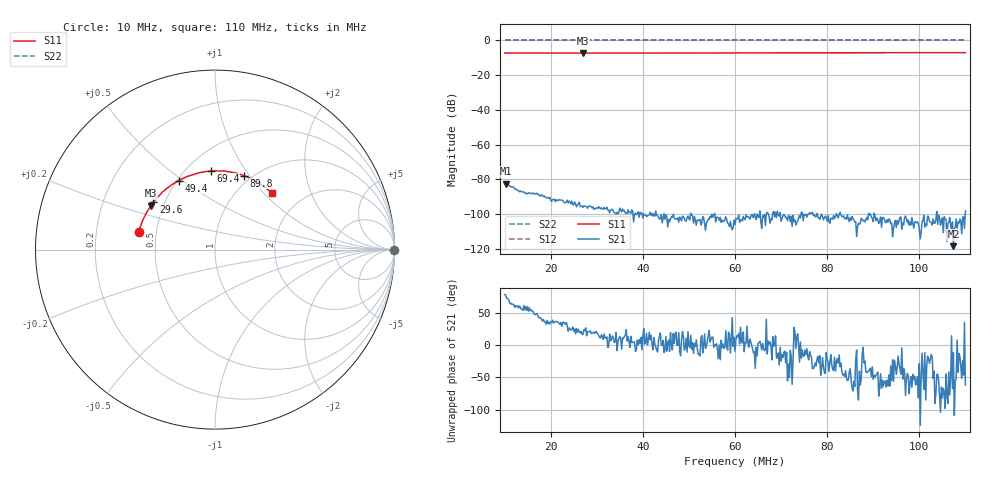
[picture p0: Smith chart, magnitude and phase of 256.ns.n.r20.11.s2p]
! Anritsu VNA Master:  Model: MS2036C/10/77
! SN:  1601066
! /card0/usr/256.ns.n.r20.11.s2p
! Existing Calibration Information:
! TYPE:  Current Settings,  Active Cal Settings
! TIME:  12/19/2017 04:01:24 PM,  12/19/2017 03:58:02 PM
! INTERNAL TEMP:  47.0 C,  47.0 C
! # POINTS:  501,  501
! START FREQ:  10.000 MHz,  10.000 MHz
! STOP FREQ:  110.000 MHz,  110.000 MHz
! SOURCE POWER:  High,  High
! IFBW:  100 Hz,  100 Hz
! AVG FACTOR:  1 ,  1
! REF PLANE 1:  0 mm,  0 mm
! REF PLANE 2:  0 mm,  0 mm
! CAL TYPE:  Full S11,  Full S11
! CAL METHOD:  SOLT,  SOLT
! CAL LINE TYPE:  Coax,  Coax
! DUT PORT 1:  N-Conn(F),  N-Conn(F)
! DUT PORT 2:  K-Conn(F),  K-Conn(F)
! CAL STATUS:  OK: Accuracy High,  --
# GHZ S DB R 50.0
! FREQ.GHZ  S11DB  S11A  S21DB  S21A  S12DB  S12A  S22DB  S22A
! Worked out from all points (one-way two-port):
!   501 points, 10 MHz to 110 MHz, reference 50 ohm
!   highest |S21| = -82.46 dB at 10.2 MHz (marker M1); lowest = -118.5 dB at 107.4 MHz (marker M2)
!   lowest |S11| = -7.3 dB at 27 MHz (marker M3), VSWR 2.52, Z = 21.4 + j12.9 ohm
!   |S11| at or under -10 dB: nowhere
!   |S22| runs from 0.0 to 0.0 dB; largest |S21 - S12| = 1
!   S11 on the Smith chart (normalised r, x): 10 MHz: 0.40, +0.10; 29.6 MHz: 0.43, +0.28; 49.4 MHz: 0.51, +0.48; 69.4 MHz: 0.65, +0.71; 89.8 MHz: 0.92, +0.94; 110 MHz: 1.41, +1.11
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0.01  -7.22 167.0  -82.64 78.6  0.00 0.0  0.00 0.0
0.0102  -7.21 166.8  -82.46 77.9  0.00 0.0  0.00 0.0
0.0176  -7.25 157.3  -89.58 42.9  0.00 0.0  0.00 0.0
0.0216  -7.26 152.2  -92.22 35.6  0.00 0.0  0.00 0.0
0.0268  -7.29 145.6  -95.49 16.6  0.00 0.0  0.00 0.0
0.027  -7.29 145.4  -96.21 16.9  0.00 0.0  0.00 0.0
0.0296  -7.26 142.2  -97.18 18.5  0.00 0.0  0.00 0.0
0.0366  -7.24 133.3  -99.69 6.4  0.00 0.0  0.00 0.0
0.041  -7.24 128.0  -101.15 0.3  0.00 0.0  0.00 0.0
0.0434  -7.26 124.9  -101.99 6.6  0.00 0.0  0.00 0.0
0.0494  -7.26 117.6  -104.10 10.9  0.00 0.0  0.00 0.0
0.0548  -7.22 110.9  -102.08 9.3  0.00 0.0  0.00 0.0
0.06  -7.22 104.6  -106.26 -9.4  0.00 0.0  0.00 0.0
0.0628  -7.18 101.2  -101.44 3.7  0.00 0.0  0.00 0.0
0.0694  -7.16 93.1  -100.49 -12.1  0.00 0.0  0.00 0.0
0.0768  -7.13 84.2  -99.06 -36.3  0.00 0.0  0.00 0.0
0.0848  -7.09 74.8  -104.41 -41.7  0.00 0.0  0.00 0.0
0.0898  -7.09 68.8  -102.62 -33.7  0.00 0.0  0.00 0.0
0.0934  -7.08 64.6  -102.82 -46.0  0.00 0.0  0.00 0.0
0.1  -7.04 56.8  -108.85 -28.7  0.00 0.0  0.00 0.0
0.1074  -7.01 48.1  -118.54 -11.8  0.00 0.0  0.00 0.0
0.11  -7.00 45.0  -98.27 -62.0  0.00 0.0  0.00 0.0
